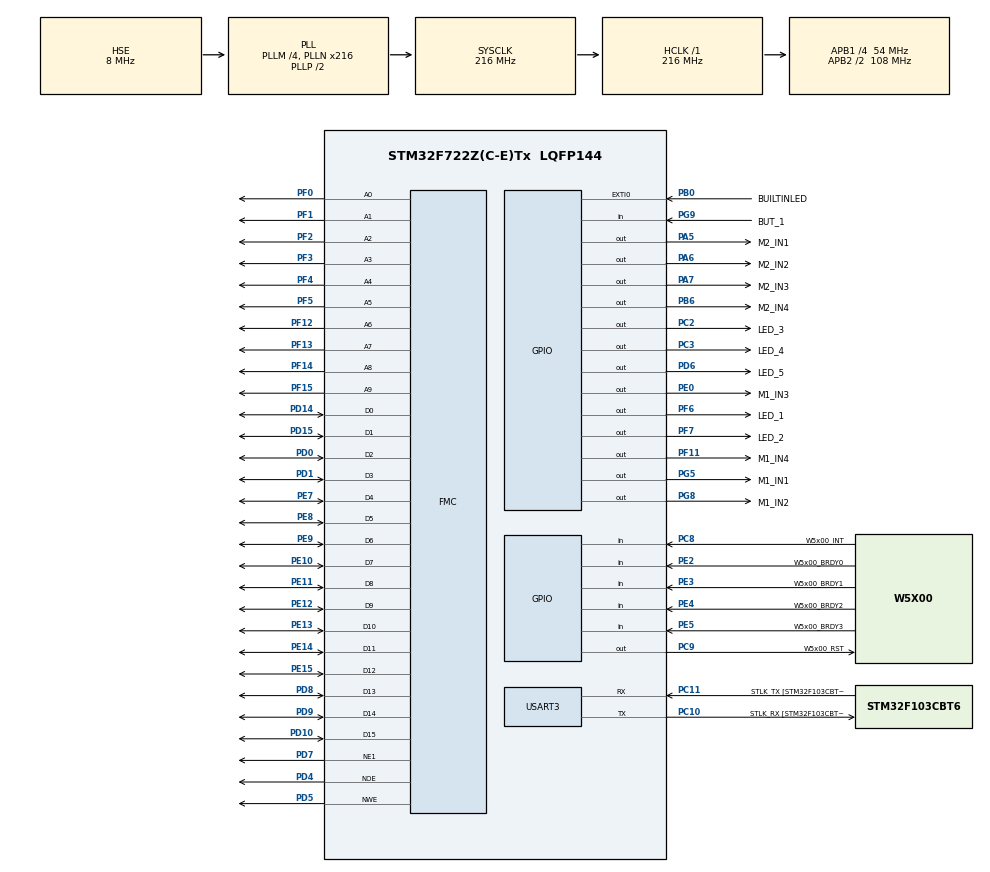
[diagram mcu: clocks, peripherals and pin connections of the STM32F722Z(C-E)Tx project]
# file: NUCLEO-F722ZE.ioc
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FMC.WriteOperation1=FMC_WRITE_OPERATION_ENABLE
Mcu.Family=STM32F7
Mcu.Name=STM32F722Z(C-E)Tx
Mcu.Package=LQFP144
NVIC.PriorityGroup=NVIC_PRIORITYGROUP_4
PA13.GPIO_Label=TMS
PA13.Mode=Serial_Wire
PA13.Signal=SYS_JTMS-SWDIO
PA14.GPIO_Label=TCK
PA14.Mode=Serial_Wire
PA14.Signal=SYS_JTCK-SWCLK
PA5.GPIO_Label=M2_IN1
PA5.Signal=GPIO_Output
PA6.GPIO_Label=M2_IN2
PA6.Signal=GPIO_Output
PA7.GPIO_Label=M2_IN3
PA7.Signal=GPIO_Output
PB0.GPIO_Label=BUILTINLED
PB0.Signal=GPXTI0
PB6.GPIO_Label=M2_IN4
PB6.Signal=GPIO_Output
PC10.GPIO_Label=STLK_RX [STM32F103CBT6_PA3]
PC10.Mode=Asynchronous
PC10.Signal=USART3_TX
PC11.GPIO_Label=STLK_TX [STM32F103CBT6_PA2]
PC11.Mode=Asynchronous
PC11.Signal=USART3_RX
PC14-OSC32_IN.Mode=LSE-External-Oscillator
PC14-OSC32_IN.Signal=RCC_OSC32_IN
PC15-OSC32_OUT.Mode=LSE-External-Oscillator
PC15-OSC32_OUT.Signal=RCC_OSC32_OUT
PC2.GPIO_Label=LED_3
PC2.Signal=GPIO_Output
PC3.GPIO_Label=LED_4
PC3.Signal=GPIO_Output
PC8.GPIO_Label=W5x00_INT
PC8.Signal=GPIO_Input
PC9.GPIO_Label=W5x00_RST
PC9.GPIO_PuPd=GPIO_PULLUP
PC9.PinState=GPIO_PIN_SET
PC9.Signal=GPIO_Output
PD0.Signal=FMC_D2_DA2
PD1.Signal=FMC_D3_DA3
PD10.Signal=FMC_D15_DA15
PD14.Signal=FMC_D0_DA0
PD15.Signal=FMC_D1_DA1
PD4.Signal=FMC_NOE
PD5.Signal=FMC_NWE
PD6.GPIO_Label=LED_5
PD6.Signal=GPIO_Output
PD7.Mode=NorPsramChipSelect1_1
PD7.Signal=FMC_NE1
PD8.Signal=FMC_D13_DA13
PD9.Signal=FMC_D14_DA14
PE0.GPIO_Label=M1_IN3
PE0.Signal=GPIO_Output
PE10.Signal=FMC_D7_DA7
PE11.Signal=FMC_D8_DA8
PE12.Signal=FMC_D9_DA9
PE13.Signal=FMC_D10_DA10
PE14.Signal=FMC_D11_DA11
PE15.Signal=FMC_D12_DA12
PE2.GPIO_Label=W5x00_BRDY0
PE2.Signal=GPIO_Input
PE3.GPIO_Label=W5x00_BRDY1
PE3.Signal=GPIO_Input
PE4.GPIO_Label=W5x00_BRDY2
PE4.Signal=GPIO_Input
PE5.GPIO_Label=W5x00_BRDY3
PE5.Signal=GPIO_Input
PE7.Signal=FMC_D4_DA4
PE8.Signal=FMC_D5_DA5
PE9.Signal=FMC_D6_DA6
PF0.Signal=FMC_A0
PF1.Signal=FMC_A1
PF11.GPIO_Label=M1_IN4
PF11.Signal=GPIO_Output
PF12.Signal=FMC_A6
PF13.Signal=FMC_A7
PF14.Signal=FMC_A8
PF15.Signal=FMC_A9
PF2.Signal=FMC_A2
PF3.Signal=FMC_A3
PF4.Signal=FMC_A4
PF5.Signal=FMC_A5
PF6.GPIO_Label=LED_1
PF6.Signal=GPIO_Output
PF7.GPIO_Label=LED_2
PF7.Signal=GPIO_Output
PG5.GPIO_Label=M1_IN1
PG5.Signal=GPIO_Output
PG8.GPIO_Label=M1_IN2
PG8.Signal=GPIO_Output
PG9.GPIO_Label=BUT_1
PG9.GPIO_PuPd=GPIO_PULLUP
PG9.Signal=GPIO_Input
PH0-OSC_IN.GPIO_Label=MCO
PH0-OSC_IN.Mode=HSE-External-Oscillator
PH0-OSC_IN.Signal=RCC_OSC_IN
PH1-OSC_OUT.Mode=HSE-External-Oscillator
PH1-OSC_OUT.Signal=RCC_OSC_OUT
ProjectManager.HeapSize=0x10000
ProjectManager.StackSize=0x8000
ProjectManager.TargetToolchain=STM32CubeIDE
RCC.48MHZClocksFreq_Value=24000000
RCC.AHBFreq_Value=216000000
RCC.APB1CLKDivider=RCC_HCLK_DIV4
RCC.APB1Freq_Value=54000000
RCC.APB1TimFreq_Value=108000000
RCC.APB2CLKDivider=RCC_HCLK_DIV2
RCC.APB2Freq_Value=108000000
RCC.APB2TimFreq_Value=216000000
RCC.CortexFreq_Value=216000000
RCC.HCLKFreq_Value=216000000
RCC.HSE_VALUE=8000000
RCC.HSI_VALUE=16000000
RCC.PLLM=4
RCC.PLLMUL=RCC_PLL_MUL9
RCC.PLLN=216
RCC.PLLQ=9
RCC.PLLSourceVirtual=RCC_PLLSOURCE_HSE
RCC.PRESCALERUSB=RCC_USBCLKSOURCE_PLL_DIV1_5
RCC.SYSCLKFreq_VALUE=216000000
RCC.SYSCLKSource=RCC_SYSCLKSOURCE_PLLCLK
RCC.SYSCLKSourceVirtual=RCC_SYSCLKSOURCE_PLLCLK
RCC.USBFreq_Value=48000000
RCC.VCOOutputFreq_Value=432000000
SH.FMC_A0.0=FMC_A0,10b-a1
SH.FMC_A1.0=FMC_A1,10b-a1
SH.FMC_A2.0=FMC_A2,10b-a1
SH.FMC_A3.0=FMC_A3,10b-a1
SH.FMC_A4.0=FMC_A4,10b-a1
SH.FMC_A5.0=FMC_A5,10b-a1
SH.FMC_A6.0=FMC_A6,10b-a1
SH.FMC_A7.0=FMC_A7,10b-a1
SH.FMC_A8.0=FMC_A8,10b-a1
SH.FMC_A9.0=FMC_A9,10b-a1
SH.FMC_D0_DA0.0=FMC_D0,16b-d1
SH.FMC_D10_DA10.0=FMC_D10,16b-d1
SH.FMC_D11_DA11.0=FMC_D11,16b-d1
SH.FMC_D12_DA12.0=FMC_D12,16b-d1
SH.FMC_D13_DA13.0=FMC_D13,16b-d1
SH.FMC_D14_DA14.0=FMC_D14,16b-d1
SH.FMC_D15_DA15.0=FMC_D15,16b-d1
SH.FMC_D1_DA1.0=FMC_D1,16b-d1
SH.FMC_D2_DA2.0=FMC_D2,16b-d1
SH.FMC_D3_DA3.0=FMC_D3,16b-d1
SH.FMC_D4_DA4.0=FMC_D4,16b-d1
SH.FMC_D5_DA5.0=FMC_D5,16b-d1
SH.FMC_D6_DA6.0=FMC_D6,16b-d1
SH.FMC_D7_DA7.0=FMC_D7,16b-d1
SH.FMC_D8_DA8.0=FMC_D8,16b-d1
SH.FMC_D9_DA9.0=FMC_D9,16b-d1
SH.FMC_NOE.0=FMC_NOE,Sram1
SH.FMC_NWE.0=FMC_NWE,Sram1
TIM1.Prescaler=72-1
USART3.VirtualMode-Asynchronous=VM_ASYNC
VP_TIM1_VS_ClockSourceINT.Mode=Internal
board=NUCLEO-F722ZE

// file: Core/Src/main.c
/* USER CODE BEGIN Header */
/**
  ******************************************************************************
  * @file           : main.c
  * @brief          : Main program body
  ******************************************************************************
  * @attention
  *
  * Copyright (c) 2023 STMicroelectronics.
  * All rights reserved.
  *
  * This software is licensed under terms that can be found in the LICENSE file
  * in the root directory of this software component.
  * If no LICENSE file comes with this software, it is provided AS-IS.
  *
  ******************************************************************************
  */
/* USER CODE END Header */
#include "main.h"

/* USER CODE BEGIN Includes */
#include <stdio.h>

#include "wizchip_conf.h"
#include "w5x00_demo.h"
/* USER CODE END Includes */

/* USER CODE BEGIN PM */
#ifdef __GNUC__
/* With GCC/RAISONANCE, small printf (option LD Linker->Libraries->Small printf set to 'Yes') calls __io_putchar() */
#define PUTCHAR_PROTOTYPE int __io_putchar(int ch)
#else
#define PUTCHAR_PROTOTYPE int fputc(int ch, FILE *f)
#endif /* __GNUC__ */
/* USER CODE END PM */

TIM_HandleTypeDef htim1;

UART_HandleTypeDef huart3;

SRAM_HandleTypeDef hsram1;

void SystemClock_Config(void);
static void MX_GPIO_Init(void);
static void MX_USART3_UART_Init(void);
static void MX_FMC_Init(void);
static void MX_TIM1_Init(void);
/* USER CODE BEGIN PFP */
/**
 * @brief  Retargets the C library printf function to the USART.
 * @param  None
 * @retval None
 */
PUTCHAR_PROTOTYPE
{
  /* Place your implementation of fputc here */
  /* e.g. write a character to the USART3 and Loop until the end of transmission */
  HAL_UART_Transmit(&huart3, (uint8_t *)&ch, 1, 0xFF);

  return ch;
}
/* USER CODE END PFP */

/* USER CODE BEGIN 0 */

void delay (uint16_t us)
{
  __HAL_TIM_SET_COUNTER(&htim1, 0);
  while (__HAL_TIM_GET_COUNTER(&htim1) < us);
}

#define stepsperrev 4096

void stepper_set_rpm (int rpm)  // Set rpm--> max 13, min 1,,,  went to 14 rev/min
{
	delay(60000000/stepsperrev/rpm);
}

void stepper_half_drive (int step)
{
	switch (step){
		case 0:
			  HAL_GPIO_WritePin(GPIOG, GPIO_PIN_5, GPIO_PIN_SET);   // IN1
			  HAL_GPIO_WritePin(GPIOG, GPIO_PIN_8, GPIO_PIN_RESET);   // IN2
			  HAL_GPIO_WritePin(GPIOE, GPIO_PIN_0, GPIO_PIN_RESET);   // IN3
			  HAL_GPIO_WritePin(GPIOF, GPIO_PIN_11, GPIO_PIN_RESET);   // IN4
			  break;

		case 1:
			  HAL_GPIO_WritePin(GPIOG, GPIO_PIN_5, GPIO_PIN_SET);   // IN1
			  HAL_GPIO_WritePin(GPIOG, GPIO_PIN_8, GPIO_PIN_SET);   // IN2
			  HAL_GPIO_WritePin(GPIOE, GPIO_PIN_0, GPIO_PIN_RESET);   // IN3
			  HAL_GPIO_WritePin(GPIOF, GPIO_PIN_11, GPIO_PIN_RESET);   // IN4
			  break;

		case 2:
			  HAL_GPIO_WritePin(GPIOG, GPIO_PIN_5, GPIO_PIN_RESET);   // IN1
			  HAL_GPIO_WritePin(GPIOG, GPIO_PIN_8, GPIO_PIN_SET);   // IN2
			  HAL_GPIO_WritePin(GPIOE, GPIO_PIN_0, GPIO_PIN_RESET);   // IN3
			  HAL_GPIO_WritePin(GPIOF, GPIO_PIN_11, GPIO_PIN_RESET);   // IN4
			  break;

		case 3:
			  HAL_GPIO_WritePin(GPIOG, GPIO_PIN_5, GPIO_PIN_RESET);   // IN1
			  HAL_GPIO_WritePin(GPIOG, GPIO_PIN_8, GPIO_PIN_SET);   // IN2
			  HAL_GPIO_WritePin(GPIOE, GPIO_PIN_0, GPIO_PIN_SET);   // IN3
			  HAL_GPIO_WritePin(GPIOF, GPIO_PIN_11, GPIO_PIN_RESET);   // IN4
			  break;

		case 4:
			  HAL_GPIO_WritePin(GPIOG, GPIO_PIN_5, GPIO_PIN_RESET);   // IN1
			  HAL_GPIO_WritePin(GPIOG, GPIO_PIN_8, GPIO_PIN_RESET);   // IN2
			  HAL_GPIO_WritePin(GPIOE, GPIO_PIN_0, GPIO_PIN_SET);   // IN3
			  HAL_GPIO_WritePin(GPIOF, GPIO_PIN_11, GPIO_PIN_RESET);   // IN4
			  break;

		case 5:
			  HAL_GPIO_WritePin(GPIOG, GPIO_PIN_5, GPIO_PIN_RESET);   // IN1
			  HAL_GPIO_WritePin(GPIOG, GPIO_PIN_8, GPIO_PIN_RESET);   // IN2
			  HAL_GPIO_WritePin(GPIOE, GPIO_PIN_0, GPIO_PIN_SET);   // IN3
			  HAL_GPIO_WritePin(GPIOF, GPIO_PIN_11, GPIO_PIN_SET);   // IN4
			  break;

		case 6:
			  HAL_GPIO_WritePin(GPIOG, GPIO_PIN_5, GPIO_PIN_RESET);   // IN1
			  HAL_GPIO_WritePin(GPIOG, GPIO_PIN_8, GPIO_PIN_RESET);   // IN2
			  HAL_GPIO_WritePin(GPIOE, GPIO_PIN_0, GPIO_PIN_RESET);   // IN3
			  HAL_GPIO_WritePin(GPIOF, GPIO_PIN_11, GPIO_PIN_SET);   // IN4
			  break;

		case 7:
			  HAL_GPIO_WritePin(GPIOG, GPIO_PIN_5, GPIO_PIN_SET);   // IN1
			  HAL_GPIO_WritePin(GPIOG, GPIO_PIN_8, GPIO_PIN_RESET);   // IN2
			  HAL_GPIO_WritePin(GPIOE, GPIO_PIN_0, GPIO_PIN_RESET);   // IN3
			  HAL_GPIO_WritePin(GPIOF, GPIO_PIN_11, GPIO_PIN_SET);   // IN4
			  break;

		}
}

void stepper_step_angle (float angle, int direction, int rpm)
{
	float anglepersequence = 0.703125;  // 360 = 512 sequences
	int numberofsequences = (int) (angle/anglepersequence);

	for (int seq=0; seq<numberofsequences; seq++)
	{
		if (direction == 0)  // for clockwise
		{
			for (int step=7; step>=0; step--)
			{
				stepper_half_drive(step);
				stepper_set_rpm(rpm);
			}

		}

		else if (direction == 1)  // for anti-clockwise
		{
			for (int step=0; step<8; step++)
			{
				stepper_half_drive(step);
				stepper_set_rpm(rpm);
			}
		}
	}
}

/* USER CODE END 0 */

int main(void)
{
  /* USER CODE BEGIN 1 */
  wiz_NetInfo net_info =
      {
          .mac = {0x00, 0x08, 0xDC, 0x12, 0x34, 0x56}, // MAC address
          .ip = {192, 168, 0, 13},                     // IP address
          .sn = {255, 255, 255, 0},                    // Subnet Mask
          .gw = {192, 168, 0, 1},                     // Gateway
          .dns = {8, 8, 8, 8},                         // DNS server
#ifdef APP_DHCP
          .dhcp = NETINFO_DHCP                         // Dynamic IP
#else
          .dhcp = NETINFO_STATIC                       // Static IP
#endif
      };

  HAL_TIM_Base_Start(&htim1);
  /* USER CODE END 1 */

  /* MCU Configuration--------------------------------------------------------*/

  /* Reset of all peripherals, Initializes the Flash interface and the Systick. */
  HAL_Init();

  /* Configure the system clock */
  SystemClock_Config();

  /* Initialize all configured peripherals */
  MX_GPIO_Init();
  MX_USART3_UART_Init();
  MX_FMC_Init();
  MX_TIM1_Init();
  /* USER CODE BEGIN 2 */
// ----------------------------------------------------------------------------------------------------
// Call main function - example function
// Select one application
// ----------------------------------------------------------------------------------------------------
  printf("skip all the demo");
#ifdef APP_DHCP
  dhcp_demo(&net_info);
#endif /* APP_DHCP */
#ifdef APP_DNS
  dns_demo(&net_info);
#endif /* APP_DNS */
#ifdef APP_HTTP_SERVER
  http_server_demo(&net_info);
#endif /* APP_HTTP_SERVER */
#ifdef APP_MQTT_PUBLISH
  mqtt_publish_demo(&net_info);
#endif /* APP_MQTT_PUBLISH */
#ifdef APP_MQTT_SUBSCRIBE
  mqtt_subscribe_demo(&net_info);
#endif /* APP_MQTT_SUBSCRIBE */
#ifdef APP_MQTT_PUBLISH_SUBSCRIBE
  mqtt_publish_subscribe_demo(&net_info);
#endif /* APP_MQTT_PUBLISH_SUBSCRIBE */
#ifdef APP_SNTP
  sntp_demo(&net_info);
#endif /* APP_SNTP */
#ifdef APP_TCP_CLIENT_OVER_SSL
  tcp_client_over_ssl_demo(&net_info);
#endif /* APP_TCP_CLIENT_OVER_SSL */
#ifdef APP_LOOPBACK
  loopback_demo(&net_info);
#endif /* APP_LOOPBACK */
  printf("focus on the main thing now!");
// ----------------------------------------------------------------------------------------------------
  /* USER CODE END 2 */

  /* Infinite loop */
  while (1)
  {

  }
}

void SystemClock_Config(void)
{
  RCC_OscInitTypeDef RCC_OscInitStruct = {0};
  RCC_ClkInitTypeDef RCC_ClkInitStruct = {0};

  /** Configure LSE Drive Capability
  */
  HAL_PWR_EnableBkUpAccess();

  /** Configure the main internal regulator output voltage
  */
  __HAL_RCC_PWR_CLK_ENABLE();
  __HAL_PWR_VOLTAGESCALING_CONFIG(PWR_REGULATOR_VOLTAGE_SCALE1);

  /** Initializes the RCC Oscillators according to the specified parameters
  * in the RCC_OscInitTypeDef structure.
  */
  RCC_OscInitStruct.OscillatorType = RCC_OSCILLATORTYPE_HSE;
  RCC_OscInitStruct.HSEState = RCC_HSE_ON;
  RCC_OscInitStruct.PLL.PLLState = RCC_PLL_ON;
  RCC_OscInitStruct.PLL.PLLSource = RCC_PLLSOURCE_HSE;
  RCC_OscInitStruct.PLL.PLLM = 4;
  RCC_OscInitStruct.PLL.PLLN = 216;
  RCC_OscInitStruct.PLL.PLLP = RCC_PLLP_DIV2;
  RCC_OscInitStruct.PLL.PLLQ = 9;
  if (HAL_RCC_OscConfig(&RCC_OscInitStruct) != HAL_OK)
  {
    Error_Handler();
  }

  /** Activate the Over-Drive mode
  */
  if (HAL_PWREx_EnableOverDrive() != HAL_OK)
  {
    Error_Handler();
  }

  /** Initializes the CPU, AHB and APB buses clocks
  */
  RCC_ClkInitStruct.ClockType = RCC_CLOCKTYPE_HCLK|RCC_CLOCKTYPE_SYSCLK
                              |RCC_CLOCKTYPE_PCLK1|RCC_CLOCKTYPE_PCLK2;
  RCC_ClkInitStruct.SYSCLKSource = RCC_SYSCLKSOURCE_PLLCLK;
  RCC_ClkInitStruct.AHBCLKDivider = RCC_SYSCLK_DIV1;
  RCC_ClkInitStruct.APB1CLKDivider = RCC_HCLK_DIV4;
  RCC_ClkInitStruct.APB2CLKDivider = RCC_HCLK_DIV2;

  if (HAL_RCC_ClockConfig(&RCC_ClkInitStruct, FLASH_LATENCY_7) != HAL_OK)
  {
    Error_Handler();
  }
}

static void MX_TIM1_Init(void)
{

  TIM_ClockConfigTypeDef sClockSourceConfig = {0};
  TIM_MasterConfigTypeDef sMasterConfig = {0};

  htim1.Instance = TIM1;
  htim1.Init.Prescaler = 72-1;
  htim1.Init.CounterMode = TIM_COUNTERMODE_UP;
  htim1.Init.Period = 65535;
  htim1.Init.ClockDivision = TIM_CLOCKDIVISION_DIV1;
  htim1.Init.RepetitionCounter = 0;
  htim1.Init.AutoReloadPreload = TIM_AUTORELOAD_PRELOAD_DISABLE;
  if (HAL_TIM_Base_Init(&htim1) != HAL_OK)
  {
    Error_Handler();
  }
  sClockSourceConfig.ClockSource = TIM_CLOCKSOURCE_INTERNAL;
  if (HAL_TIM_ConfigClockSource(&htim1, &sClockSourceConfig) != HAL_OK)
  {
    Error_Handler();
  }
  sMasterConfig.MasterOutputTrigger = TIM_TRGO_RESET;
  sMasterConfig.MasterOutputTrigger2 = TIM_TRGO2_RESET;
  sMasterConfig.MasterSlaveMode = TIM_MASTERSLAVEMODE_DISABLE;
  if (HAL_TIMEx_MasterConfigSynchronization(&htim1, &sMasterConfig) != HAL_OK)
  {
    Error_Handler();
  }

}

static void MX_USART3_UART_Init(void)
{

  huart3.Instance = USART3;
  huart3.Init.BaudRate = 115200;
  huart3.Init.WordLength = UART_WORDLENGTH_8B;
  huart3.Init.StopBits = UART_STOPBITS_1;
  huart3.Init.Parity = UART_PARITY_NONE;
  huart3.Init.Mode = UART_MODE_TX_RX;
  huart3.Init.HwFlowCtl = UART_HWCONTROL_NONE;
  huart3.Init.OverSampling = UART_OVERSAMPLING_16;
  huart3.Init.OneBitSampling = UART_ONE_BIT_SAMPLE_DISABLE;
  huart3.AdvancedInit.AdvFeatureInit = UART_ADVFEATURE_NO_INIT;
  if (HAL_UART_Init(&huart3) != HAL_OK)
  {
    Error_Handler();
  }

}

/* FMC initialization function */
static void MX_FMC_Init(void)
{

  FMC_NORSRAM_TimingTypeDef Timing = {0};

  /** Perform the SRAM1 memory initialization sequence
  */
  hsram1.Instance = FMC_NORSRAM_DEVICE;
  hsram1.Extended = FMC_NORSRAM_EXTENDED_DEVICE;
  /* hsram1.Init */
  hsram1.Init.NSBank = FMC_NORSRAM_BANK1;
  hsram1.Init.DataAddressMux = FMC_DATA_ADDRESS_MUX_DISABLE;
  hsram1.Init.MemoryType = FMC_MEMORY_TYPE_SRAM;
  hsram1.Init.MemoryDataWidth = FMC_NORSRAM_MEM_BUS_WIDTH_16;
  hsram1.Init.BurstAccessMode = FMC_BURST_ACCESS_MODE_DISABLE;
  hsram1.Init.WaitSignalPolarity = FMC_WAIT_SIGNAL_POLARITY_LOW;
  hsram1.Init.WaitSignalActive = FMC_WAIT_TIMING_BEFORE_WS;
  hsram1.Init.WriteOperation = FMC_WRITE_OPERATION_ENABLE;
  hsram1.Init.WaitSignal = FMC_WAIT_SIGNAL_DISABLE;
  hsram1.Init.ExtendedMode = FMC_EXTENDED_MODE_DISABLE;
  hsram1.Init.AsynchronousWait = FMC_ASYNCHRONOUS_WAIT_DISABLE;
  hsram1.Init.WriteBurst = FMC_WRITE_BURST_DISABLE;
  hsram1.Init.ContinuousClock = FMC_CONTINUOUS_CLOCK_SYNC_ONLY;
  hsram1.Init.WriteFifo = FMC_WRITE_FIFO_ENABLE;
  hsram1.Init.PageSize = FMC_PAGE_SIZE_NONE;
  /* Timing */
  Timing.AddressSetupTime = 15;
  Timing.AddressHoldTime = 15;
  Timing.DataSetupTime = 255;
  Timing.BusTurnAroundDuration = 15;
  Timing.CLKDivision = 16;
  Timing.DataLatency = 17;
  Timing.AccessMode = FMC_ACCESS_MODE_A;
  /* ExtTiming */

  if (HAL_SRAM_Init(&hsram1, &Timing, NULL) != HAL_OK)
  {
    Error_Handler( );
  }

  /* USER CODE BEGIN FMC_Init 2 */
  // overwrite
  Timing.AddressSetupTime = 1;
  Timing.AddressHoldTime = 1;
  Timing.DataSetupTime = 7;
  Timing.BusTurnAroundDuration = 0;
  Timing.CLKDivision = 2;
  Timing.DataLatency = 2;
  Timing.AccessMode = FMC_ACCESS_MODE_A;

  if (HAL_SRAM_Init(&hsram1, &Timing, NULL) != HAL_OK)
  {
    Error_Handler();
  }
  /* USER CODE END FMC_Init 2 */
}

static void MX_GPIO_Init(void)
{
  GPIO_InitTypeDef GPIO_InitStruct = {0};

  /* GPIO Ports Clock Enable */
  __HAL_RCC_GPIOE_CLK_ENABLE();
  __HAL_RCC_GPIOC_CLK_ENABLE();
  __HAL_RCC_GPIOF_CLK_ENABLE();
  __HAL_RCC_GPIOH_CLK_ENABLE();
  __HAL_RCC_GPIOA_CLK_ENABLE();
  __HAL_RCC_GPIOB_CLK_ENABLE();
  __HAL_RCC_GPIOD_CLK_ENABLE();
  __HAL_RCC_GPIOG_CLK_ENABLE();

  /*Configure GPIO pin Output Level */
  HAL_GPIO_WritePin(GPIOF, LED_1_Pin|LED_2_Pin|M1_IN4_Pin, GPIO_PIN_RESET);

  /*Configure GPIO pin Output Level */
  HAL_GPIO_WritePin(GPIOC, LED_3_Pin|LED_4_Pin, GPIO_PIN_RESET);

  /*Configure GPIO pin Output Level */
  HAL_GPIO_WritePin(GPIOA, M2_IN1_Pin|M2_IN2_Pin|M2_IN3_Pin, GPIO_PIN_RESET);

  /*Configure GPIO pin Output Level */
  HAL_GPIO_WritePin(GPIOG, M1_IN1_Pin|M1_IN2_Pin, GPIO_PIN_RESET);

  /*Configure GPIO pin Output Level */
  HAL_GPIO_WritePin(W5x00_RST_GPIO_Port, W5x00_RST_Pin, GPIO_PIN_SET);

  /*Configure GPIO pin Output Level */
  HAL_GPIO_WritePin(LED_5_GPIO_Port, LED_5_Pin, GPIO_PIN_RESET);

  /*Configure GPIO pin Output Level */
  HAL_GPIO_WritePin(M2_IN4_GPIO_Port, M2_IN4_Pin, GPIO_PIN_RESET);

  /*Configure GPIO pin Output Level */
  HAL_GPIO_WritePin(M1_IN3_GPIO_Port, M1_IN3_Pin, GPIO_PIN_RESET);

  /*Configure GPIO pins : W5x00_BRDY0_Pin W5x00_BRDY1_Pin W5x00_BRDY2_Pin W5x00_BRDY3_Pin */
  GPIO_InitStruct.Pin = W5x00_BRDY0_Pin|W5x00_BRDY1_Pin|W5x00_BRDY2_Pin|W5x00_BRDY3_Pin;
  GPIO_InitStruct.Mode = GPIO_MODE_INPUT;
  GPIO_InitStruct.Pull = GPIO_NOPULL;
  HAL_GPIO_Init(GPIOE, &GPIO_InitStruct);

  /*Configure GPIO pins : LED_1_Pin LED_2_Pin M1_IN4_Pin */
  GPIO_InitStruct.Pin = LED_1_Pin|LED_2_Pin|M1_IN4_Pin;
  GPIO_InitStruct.Mode = GPIO_MODE_OUTPUT_PP;
  GPIO_InitStruct.Pull = GPIO_NOPULL;
  GPIO_InitStruct.Speed = GPIO_SPEED_FREQ_LOW;
  HAL_GPIO_Init(GPIOF, &GPIO_InitStruct);

  /*Configure GPIO pins : LED_3_Pin LED_4_Pin */
  GPIO_InitStruct.Pin = LED_3_Pin|LED_4_Pin;
  GPIO_InitStruct.Mode = GPIO_MODE_OUTPUT_PP;
  GPIO_InitStruct.Pull = GPIO_NOPULL;
  GPIO_InitStruct.Speed = GPIO_SPEED_FREQ_LOW;
  HAL_GPIO_Init(GPIOC, &GPIO_InitStruct);

  /*Configure GPIO pins : M2_IN1_Pin M2_IN2_Pin M2_IN3_Pin */
  GPIO_InitStruct.Pin = M2_IN1_Pin|M2_IN2_Pin|M2_IN3_Pin;
  GPIO_InitStruct.Mode = GPIO_MODE_OUTPUT_PP;
  GPIO_InitStruct.Pull = GPIO_NOPULL;
  GPIO_InitStruct.Speed = GPIO_SPEED_FREQ_LOW;
  HAL_GPIO_Init(GPIOA, &GPIO_InitStruct);

  /*Configure GPIO pin : BUILTINLED_Pin */
  GPIO_InitStruct.Pin = BUILTINLED_Pin;
  GPIO_InitStruct.Mode = GPIO_MODE_IT_RISING;
  GPIO_InitStruct.Pull = GPIO_NOPULL;
  HAL_GPIO_Init(BUILTINLED_GPIO_Port, &GPIO_InitStruct);

  /*Configure GPIO pins : M1_IN1_Pin M1_IN2_Pin */
  GPIO_InitStruct.Pin = M1_IN1_Pin|M1_IN2_Pin;
  GPIO_InitStruct.Mode = GPIO_MODE_OUTPUT_PP;
  GPIO_InitStruct.Pull = GPIO_NOPULL;
  GPIO_InitStruct.Speed = GPIO_SPEED_FREQ_LOW;
  HAL_GPIO_Init(GPIOG, &GPIO_InitStruct);

  /*Configure GPIO pin : W5x00_INT_Pin */
  GPIO_InitStruct.Pin = W5x00_INT_Pin;
  GPIO_InitStruct.Mode = GPIO_MODE_INPUT;
  GPIO_InitStruct.Pull = GPIO_NOPULL;
  HAL_GPIO_Init(W5x00_INT_GPIO_Port, &GPIO_InitStruct);

  /*Configure GPIO pin : W5x00_RST_Pin */
  GPIO_InitStruct.Pin = W5x00_RST_Pin;
  GPIO_InitStruct.Mode = GPIO_MODE_OUTPUT_PP;
  GPIO_InitStruct.Pull = GPIO_PULLUP;
  GPIO_InitStruct.Speed = GPIO_SPEED_FREQ_LOW;
  HAL_GPIO_Init(W5x00_RST_GPIO_Port, &GPIO_InitStruct);

  /*Configure GPIO pin : LED_5_Pin */
  GPIO_InitStruct.Pin = LED_5_Pin;
  GPIO_InitStruct.Mode = GPIO_MODE_OUTPUT_PP;
  GPIO_InitStruct.Pull = GPIO_NOPULL;
  GPIO_InitStruct.Speed = GPIO_SPEED_FREQ_LOW;
  HAL_GPIO_Init(LED_5_GPIO_Port, &GPIO_InitStruct);

  /*Configure GPIO pin : BUT_1_Pin */
  GPIO_InitStruct.Pin = BUT_1_Pin;
  GPIO_InitStruct.Mode = GPIO_MODE_INPUT;
  GPIO_InitStruct.Pull = GPIO_PULLUP;
  HAL_GPIO_Init(BUT_1_GPIO_Port, &GPIO_InitStruct);

  /*Configure GPIO pin : M2_IN4_Pin */
  GPIO_InitStruct.Pin = M2_IN4_Pin;
  GPIO_InitStruct.Mode = GPIO_MODE_OUTPUT_PP;
  GPIO_InitStruct.Pull = GPIO_NOPULL;
  GPIO_InitStruct.Speed = GPIO_SPEED_FREQ_LOW;
  HAL_GPIO_Init(M2_IN4_GPIO_Port, &GPIO_InitStruct);

  /*Configure GPIO pin : M1_IN3_Pin */
  GPIO_InitStruct.Pin = M1_IN3_Pin;
  GPIO_InitStruct.Mode = GPIO_MODE_OUTPUT_PP;
  GPIO_InitStruct.Pull = GPIO_NOPULL;
  GPIO_InitStruct.Speed = GPIO_SPEED_FREQ_LOW;
  HAL_GPIO_Init(M1_IN3_GPIO_Port, &GPIO_InitStruct);

}

void Error_Handler(void)
{
  __disable_irq();
  while (1)
  {
  }
}
